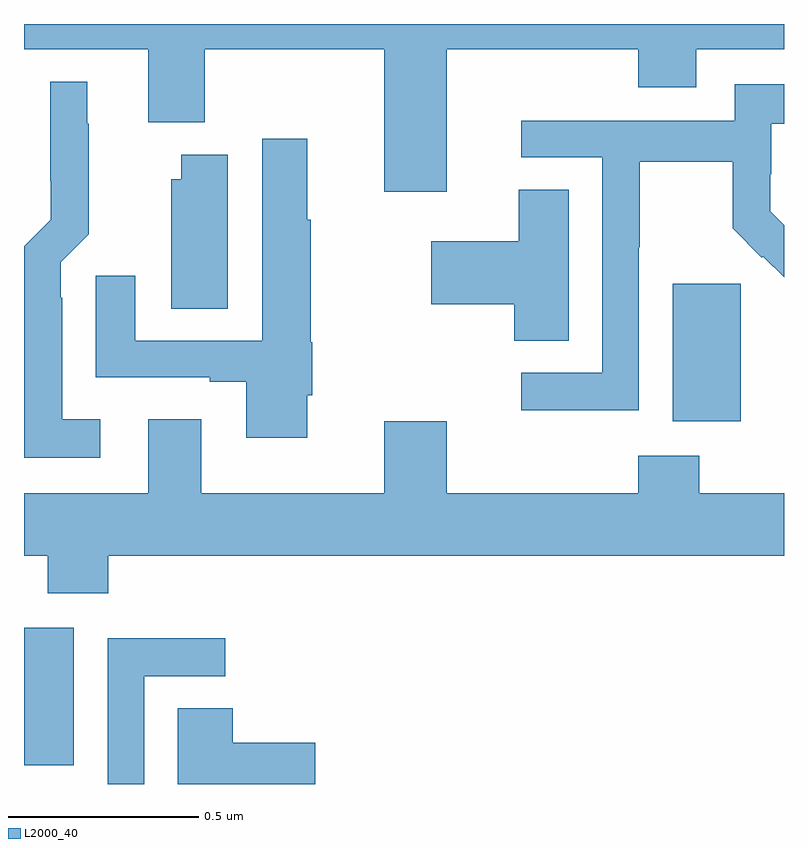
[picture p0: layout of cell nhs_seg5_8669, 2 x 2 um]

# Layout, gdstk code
import gdstk
lib = gdstk.Library(unit=1e-6, precision=1e-09)
def R(c, l, rs):  # rectangles x0, y0, x1, y1
    for r in rs: c.add(gdstk.rectangle(r[:2], r[2:], *l))
def P(c, l, *ps):  # polygons
    for p in ps: c.add(gdstk.Polygon(p, *l))
L2000_40 = (2000, 40)

nhs_seg5_8669 = lib.new_cell('nhs_seg5_8669')
R(nhs_seg5_8669, L2000_40, [(224,882.849,224.131,883.21), (225.707,883.754,225.886,884.115)])
P(nhs_seg5_8669, L2000_40, [(225.112,884.732),(225.617,884.732),(225.617,884.633),(225.769,884.633),(225.769,884.732),(226,884.732),(226,884.799),(224,884.799),(224,884.732),(224.327,884.732),(224.327,884.54),(224.475,884.54),(224.475,884.732),(224.948,884.732),(224.948,884.358),(225.112,884.358)],
  [(224.2,883.759),(224.101,883.759),(224.101,884.078),(224.097,884.078),(224.097,884.172),(224.171,884.246),(224.171,884.537),(224.167,884.537),(224.167,884.647),(224.069,884.647),(224.069,884.386),(224.07,884.386),(224.07,884.284),(224,884.214),(224,883.658),(224.2,883.658)],
  [(225.618,884.212),(225.621,884.212),(225.621,884.436),(225.865,884.436),(225.865,884.261),(225.942,884.184),(225.945,884.187),(226,884.133),(226,884.27),(225.964,884.306),(225.964,884.403),(225.966,884.403),(225.966,884.537),(226,884.537),(226,884.641),(225.87,884.641),(225.87,884.544),(225.309,884.544),(225.309,884.448),(225.522,884.448),(225.522,883.881),(225.309,883.881),(225.309,883.783),(225.618,883.783)],
  [(224.746,883.822),(224.759,883.822),(224.759,883.962),(224.754,883.962),(224.754,884.284),(224.746,884.284),(224.746,884.497),(224.627,884.497),(224.627,883.965),(224.293,883.965),(224.293,884.137),(224.189,884.137),(224.189,883.869),(224.489,883.869),(224.489,883.857),(224.585,883.857),(224.585,883.71),(224.746,883.71)],
  [(224.536,884.455),(224.414,884.455),(224.414,884.391),(224.387,884.391),(224.387,884.05),(224.536,884.05)],
  [(225.433,884.363),(225.302,884.363),(225.302,884.227),(225.072,884.227),(225.072,884.062),(225.29,884.062),(225.29,883.966),(225.433,883.966)],
  [(224.222,883.4),(226,883.4),(226,883.564),(225.777,883.564),(225.777,883.663),(225.617,883.663),(225.617,883.564),(225.112,883.564),(225.112,883.753),(224.948,883.753),(224.948,883.564),(224.467,883.564),(224.467,883.759),(224.327,883.759),(224.327,883.564),(224,883.564),(224,883.4),(224.062,883.4),(224.062,883.301),(224.222,883.301)],
  [(224.316,883.083),(224.53,883.083),(224.53,883.182),(224.22,883.182),(224.22,882.799),(224.316,882.799)],
  [(224.767,882.908),(224.549,882.908),(224.549,882.998),(224.405,882.998),(224.405,882.799),(224.767,882.799)])

lib.write_gds('nhs_seg5_8669.gds')
